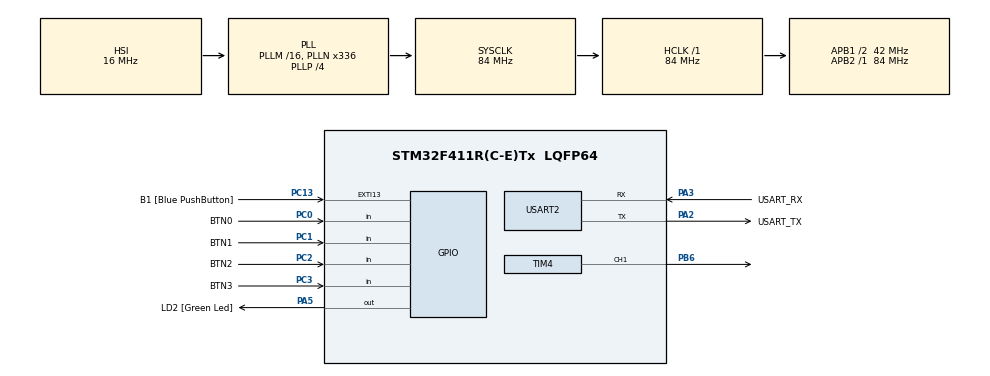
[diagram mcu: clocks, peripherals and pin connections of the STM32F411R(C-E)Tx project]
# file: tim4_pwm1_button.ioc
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Mcu.Family=STM32F4
Mcu.Name=STM32F411R(C-E)Tx
Mcu.Package=LQFP64
NVIC.PriorityGroup=NVIC_PRIORITYGROUP_0
NVIC.TIM4_IRQn=true\:0\:0\:false\:false\:true\:true\:true\:true
PA13.GPIO_Label=TMS
PA13.Mode=Serial_Wire
PA13.Signal=SYS_JTMS-SWDIO
PA14.GPIO_Label=TCK
PA14.Mode=Serial_Wire
PA14.Signal=SYS_JTCK-SWCLK
PA2.GPIO_Label=USART_TX
PA2.Mode=Asynchronous
PA2.Signal=USART2_TX
PA3.GPIO_Label=USART_RX
PA3.Mode=Asynchronous
PA3.Signal=USART2_RX
PA5.GPIO_Label=LD2 [Green Led]
PA5.Signal=GPIO_Output
PB3.GPIO_Label=SWO
PB3.Signal=SYS_JTDO-SWO
PB6.Signal=S_TIM4_CH1
PC0.GPIO_Label=BTN0
PC0.Signal=GPIO_Input
PC1.GPIO_Label=BTN1
PC1.Signal=GPIO_Input
PC13-ANTI_TAMP.GPIO_Label=B1 [Blue PushButton]
PC13-ANTI_TAMP.GPIO_ModeDefaultEXTI=GPIO_MODE_IT_FALLING
PC13-ANTI_TAMP.Signal=GPXTI13
PC14-OSC32_IN.Signal=RCC_OSC32_IN
PC15-OSC32_OUT.Signal=RCC_OSC32_OUT
PC2.GPIO_Label=BTN2
PC2.Signal=GPIO_Input
PC3.GPIO_Label=BTN3
PC3.Signal=GPIO_Input
PH0\ -\ OSC_IN.Signal=RCC_OSC_IN
PH1\ -\ OSC_OUT.Signal=RCC_OSC_OUT
ProjectManager.HeapSize=0x200
ProjectManager.StackSize=0x400
ProjectManager.TargetToolchain=STM32CubeIDE
RCC.48MHZClocksFreq_Value=84000000
RCC.AHBFreq_Value=84000000
RCC.APB1CLKDivider=RCC_HCLK_DIV2
RCC.APB1Freq_Value=42000000
RCC.APB1TimFreq_Value=84000000
RCC.APB2Freq_Value=84000000
RCC.APB2TimFreq_Value=84000000
RCC.CortexFreq_Value=84000000
RCC.FLatency-AdvancedSettings=FLASH_LATENCY_2
RCC.HCLKFreq_Value=84000000
RCC.HSE_VALUE=8000000
RCC.HSI_VALUE=16000000
RCC.LSE_VALUE=32768
RCC.PLLN=336
RCC.PLLP=RCC_PLLP_DIV4
RCC.SYSCLKFreq_VALUE=84000000
RCC.SYSCLKSource=RCC_SYSCLKSOURCE_PLLCLK
RCC.VCOOutputFreq_Value=336000000
SH.S_TIM4_CH1.0=TIM4_CH1,PWM Generation1 CH1
TIM4.AutoReloadPreload=TIM_AUTORELOAD_PRELOAD_ENABLE
TIM4.Channel-PWM\ Generation1\ CH1=TIM_CHANNEL_1
TIM4.Period=1000-1
TIM4.Prescaler=84-1
TIM4.Pulse-PWM\ Generation1\ CH1=0
USART2.VirtualMode=VM_ASYNC
VP_TIM4_VS_ClockSourceINT.Mode=Internal
board=NUCLEO-F411RE

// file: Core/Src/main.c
/* USER CODE BEGIN Header */
/**
  ******************************************************************************
  * @file           : main.c
  * @brief          : Main program body
  ******************************************************************************
  * @attention
  *
  * Copyright (c) 2025 STMicroelectronics.
  * All rights reserved.
  *
  * This software is licensed under terms that can be found in the LICENSE file
  * in the root directory of this software component.
  * If no LICENSE file comes with this software, it is provided AS-IS.
  *
  ******************************************************************************
  */
/* USER CODE END Header */
#include "main.h"

/* USER CODE BEGIN Includes */
#include <stdio.h>
/* USER CODE END Includes */

/* USER CODE BEGIN PD */
#ifdef __GNUC__
/* With GCC, small printf (option LD Linker->Libraries->Small printf
   set to 'Yes') calls __io_putchar() */
#define PUTCHAR_PROTOTYPE int __io_putchar(int ch)
#else
#define PUTCHAR_PROTOTYPE int fputc(int ch, FILE *f)
#endif /* __GNUC__ */
/* USER CODE END PD */

TIM_HandleTypeDef htim4;

UART_HandleTypeDef huart2;

/* USER CODE BEGIN PV */
volatile int time3SecFlag = 0;
volatile unsigned int time3SecCnt=0;
volatile unsigned int time3Cnt=0;
volatile int time3CntFlag = 1;
volatile int time3_100msFlag = 0;
/* USER CODE END PV */

void SystemClock_Config(void);
static void MX_GPIO_Init(void);
static void MX_USART2_UART_Init(void);
static void MX_TIM4_Init(void);
int getKeyNum();

int main(void)
{

  /* USER CODE BEGIN 1 */
	int pulse =0;
	int KeyNum=0;
  /* USER CODE END 1 */

  /* MCU Configuration--------------------------------------------------------*/

  /* Reset of all peripherals, Initializes the Flash interface and the Systick. */
  HAL_Init();

  /* Configure the system clock */
  SystemClock_Config();

  /* Initialize all configured peripherals */
  MX_GPIO_Init();
  MX_USART2_UART_Init();
  MX_TIM4_Init();
  /* USER CODE BEGIN 2 */
  if(HAL_TIM_Base_Start_IT(&htim4) != HAL_OK)
	  Error_Handler();
  if(HAL_TIM_PWM_Start(&htim4,TIM_CHANNEL_1) != HAL_OK)
	  Error_Handler();
  if(HAL_TIM_PWM_Start(&htim4,TIM_CHANNEL_2) != HAL_OK)
	  Error_Handler();
  /* USER CODE END 2 */

  /* Infinite loop */
  /* USER CODE BEGIN WHILE */
  while (1)
  {
//	  HAL_GPIO_WritePin(LD2_GPIO_Port, LD2_Pin, HAL_GPIO_ReadPin(BTN3_GPIO_Port,BTN3_Pin));
	  if(time3SecFlag)
	  {
		  HAL_GPIO_TogglePin(LD2_GPIO_Port,LD2_Pin);
		  printf("time3Seccnt : %d pulse : %d\r\n",time3SecCnt,pulse);
		  time3SecFlag = 0;
	  }
	  KeyNum=getKeyNum();
	  if(KeyNum !=0)
	  {
		  printf("KeyNum : %d\r\n",KeyNum);
//		  if((pulse == 0 && KeyNum ==1) || (pulse == 1000 && KeyNum ==2))
//			  continue;
//		  if((pulse == 0 && KeyNum ==3) || (pulse == 1000 && KeyNum ==4))
//			  continue;
		  if(KeyNum ==1)
		  {
			  pulse = 500;
		  }
		  else if(KeyNum ==2)
		  {
			  pulse =2500;
		  }
		  else if((KeyNum ==3))
		  {
			  pulse -= 100;
		  }
		  else if((KeyNum ==4))
		  {
			  pulse += 100;
		  }
		  __HAL_TIM_SetCompare(&htim4,TIM_CHANNEL_2,(pulse-1)<0?0:pulse-1);
		  printf("pulse : %d\r\n",pulse);
	  }
#if 0
	  if(time3_100msFlag)
	  {
		  time3_100msFlag = 0;
		  if(pulse < 1000)
		  {
			  pulse += 10;
			  __HAL_TIM_SetCompare(&htim4,TIM_CHANNEL_1,pulse-1);
		  }
		  else if(time3_100msFlag == 1000)
		  {
			  pulse = 0;
			  __HAL_TIM_SetCompare(&htim4,TIM_CHANNEL_1,pulse);
		  }
		  printf("time3Seccnt : %d pulse : %d\r\n",time3SecCnt,pulse);
	  }
#endif
    /* USER CODE END WHILE */

  }
}

void SystemClock_Config(void)
{
  RCC_OscInitTypeDef RCC_OscInitStruct = {0};
  RCC_ClkInitTypeDef RCC_ClkInitStruct = {0};

  /** Configure the main internal regulator output voltage
  */
  __HAL_RCC_PWR_CLK_ENABLE();
  __HAL_PWR_VOLTAGESCALING_CONFIG(PWR_REGULATOR_VOLTAGE_SCALE1);

  /** Initializes the RCC Oscillators according to the specified parameters
  * in the RCC_OscInitTypeDef structure.
  */
  RCC_OscInitStruct.OscillatorType = RCC_OSCILLATORTYPE_HSI;
  RCC_OscInitStruct.HSIState = RCC_HSI_ON;
  RCC_OscInitStruct.HSICalibrationValue = RCC_HSICALIBRATION_DEFAULT;
  RCC_OscInitStruct.PLL.PLLState = RCC_PLL_ON;
  RCC_OscInitStruct.PLL.PLLSource = RCC_PLLSOURCE_HSI;
  RCC_OscInitStruct.PLL.PLLM = 16;
  RCC_OscInitStruct.PLL.PLLN = 336;
  RCC_OscInitStruct.PLL.PLLP = RCC_PLLP_DIV4;
  RCC_OscInitStruct.PLL.PLLQ = 4;
  if (HAL_RCC_OscConfig(&RCC_OscInitStruct) != HAL_OK)
  {
    Error_Handler();
  }

  /** Initializes the CPU, AHB and APB buses clocks
  */
  RCC_ClkInitStruct.ClockType = RCC_CLOCKTYPE_HCLK|RCC_CLOCKTYPE_SYSCLK
                              |RCC_CLOCKTYPE_PCLK1|RCC_CLOCKTYPE_PCLK2;
  RCC_ClkInitStruct.SYSCLKSource = RCC_SYSCLKSOURCE_PLLCLK;
  RCC_ClkInitStruct.AHBCLKDivider = RCC_SYSCLK_DIV1;
  RCC_ClkInitStruct.APB1CLKDivider = RCC_HCLK_DIV2;
  RCC_ClkInitStruct.APB2CLKDivider = RCC_HCLK_DIV1;

  if (HAL_RCC_ClockConfig(&RCC_ClkInitStruct, FLASH_LATENCY_2) != HAL_OK)
  {
    Error_Handler();
  }
}

static void MX_TIM4_Init(void)
{

  TIM_ClockConfigTypeDef sClockSourceConfig = {0};
  TIM_MasterConfigTypeDef sMasterConfig = {0};
  TIM_OC_InitTypeDef sConfigOC = {0};

  htim4.Instance = TIM4;
  htim4.Init.Prescaler = 84-1;
  htim4.Init.CounterMode = TIM_COUNTERMODE_UP;
  htim4.Init.Period = 1000-1;
  htim4.Init.ClockDivision = TIM_CLOCKDIVISION_DIV1;
  htim4.Init.AutoReloadPreload = TIM_AUTORELOAD_PRELOAD_ENABLE;
  if (HAL_TIM_Base_Init(&htim4) != HAL_OK)
  {
    Error_Handler();
  }
  sClockSourceConfig.ClockSource = TIM_CLOCKSOURCE_INTERNAL;
  if (HAL_TIM_ConfigClockSource(&htim4, &sClockSourceConfig) != HAL_OK)
  {
    Error_Handler();
  }
  if (HAL_TIM_PWM_Init(&htim4) != HAL_OK)
  {
    Error_Handler();
  }
  sMasterConfig.MasterOutputTrigger = TIM_TRGO_RESET;
  sMasterConfig.MasterSlaveMode = TIM_MASTERSLAVEMODE_DISABLE;
  if (HAL_TIMEx_MasterConfigSynchronization(&htim4, &sMasterConfig) != HAL_OK)
  {
    Error_Handler();
  }
  sConfigOC.OCMode = TIM_OCMODE_PWM1;
  sConfigOC.Pulse = 0;
  sConfigOC.OCPolarity = TIM_OCPOLARITY_HIGH;
  sConfigOC.OCFastMode = TIM_OCFAST_DISABLE;
  if (HAL_TIM_PWM_ConfigChannel(&htim4, &sConfigOC, TIM_CHANNEL_1) != HAL_OK)
  {
    Error_Handler();
  }
  HAL_TIM_MspPostInit(&htim4);

}

static void MX_USART2_UART_Init(void)
{

  huart2.Instance = USART2;
  huart2.Init.BaudRate = 115200;
  huart2.Init.WordLength = UART_WORDLENGTH_8B;
  huart2.Init.StopBits = UART_STOPBITS_1;
  huart2.Init.Parity = UART_PARITY_NONE;
  huart2.Init.Mode = UART_MODE_TX_RX;
  huart2.Init.HwFlowCtl = UART_HWCONTROL_NONE;
  huart2.Init.OverSampling = UART_OVERSAMPLING_16;
  if (HAL_UART_Init(&huart2) != HAL_OK)
  {
    Error_Handler();
  }

}

static void MX_GPIO_Init(void)
{
  GPIO_InitTypeDef GPIO_InitStruct = {0};

  /* GPIO Ports Clock Enable */
  __HAL_RCC_GPIOC_CLK_ENABLE();
  __HAL_RCC_GPIOH_CLK_ENABLE();
  __HAL_RCC_GPIOA_CLK_ENABLE();
  __HAL_RCC_GPIOB_CLK_ENABLE();

  /*Configure GPIO pin Output Level */
  HAL_GPIO_WritePin(LD2_GPIO_Port, LD2_Pin, GPIO_PIN_RESET);

  /*Configure GPIO pin : B1_Pin */
  GPIO_InitStruct.Pin = B1_Pin;
  GPIO_InitStruct.Mode = GPIO_MODE_IT_FALLING;
  GPIO_InitStruct.Pull = GPIO_NOPULL;
  HAL_GPIO_Init(B1_GPIO_Port, &GPIO_InitStruct);

  /*Configure GPIO pins : BTN0_Pin BTN1_Pin BTN2_Pin BTN3_Pin */
  GPIO_InitStruct.Pin = BTN0_Pin|BTN1_Pin|BTN2_Pin|BTN3_Pin;
  GPIO_InitStruct.Mode = GPIO_MODE_INPUT;
  GPIO_InitStruct.Pull = GPIO_NOPULL;
  HAL_GPIO_Init(GPIOC, &GPIO_InitStruct);

  /*Configure GPIO pin : LD2_Pin */
  GPIO_InitStruct.Pin = LD2_Pin;
  GPIO_InitStruct.Mode = GPIO_MODE_OUTPUT_PP;
  GPIO_InitStruct.Pull = GPIO_NOPULL;
  GPIO_InitStruct.Speed = GPIO_SPEED_FREQ_LOW;
  HAL_GPIO_Init(LD2_GPIO_Port, &GPIO_InitStruct);

}

/* USER CODE BEGIN 4 */
PUTCHAR_PROTOTYPE
{
  /* Place your implementation of fputc here */
  /* e.g. write a character to the USART6 and Loop until the end of transmission */
  HAL_UART_Transmit(&huart2, (uint8_t *)&ch, 1, 0xFFFF);

  return ch;
}
int getKeyNum()
{
	int KeyNumber=0;
	int buttonState=0;
	static int KeyNumberOld=0;
	for(int i=0;i<4;i++)
	     {
	    	 buttonState = HAL_GPIO_ReadPin(BTN0_GPIO_Port,BTN0_Pin<<i);
	    	 if(buttonState)
	    	 {
	    		 KeyNumber = i+1;
	    		 if(KeyNumber != KeyNumberOld)
	    		 {
	    			 KeyNumberOld=KeyNumber;
	    			 return KeyNumber;
	    		 }
	    		 else
	    		 {
	    			 return 0;
	    		 }
	    	 }
	     }
	return KeyNumber;
}
void HAL_TIM_PeriodElapsedCallback(TIM_HandleTypeDef *htim)
{
	if(htim->Instance == TIM4)
	{
		time3CntFlag= 1;
		time3Cnt++;
		if(time3Cnt % 100)
			time3_100msFlag = 1;
		if(time3Cnt >=1000)
		{
			time3SecCnt++;
			time3SecFlag =1;
			time3Cnt=0;
		}
	}
}
/* USER CODE END 4 */

void Error_Handler(void)
{
  /* USER CODE BEGIN Error_Handler_Debug */
  /* User can add his own implementation to report the HAL error return state */
  __disable_irq();
  while (1)
  {
	  printf("Error_Handler()\r\n");
  }
  /* USER CODE END Error_Handler_Debug */
}
